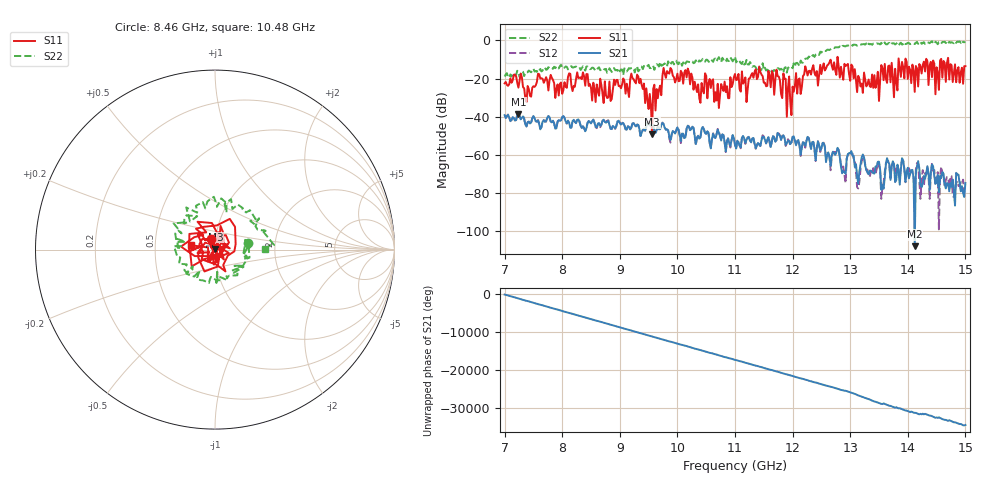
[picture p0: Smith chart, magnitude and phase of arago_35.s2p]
! 4/11/2025 3:31:01 PM
! C:\ANRITSUVNA\LELEC2350\LAB1_2025\GROUP1_35.S2P
! CHANNEL.1
! TR.MEASUREMENT
! CORRECTED.DATA
! RF.CORRECTION: FULL.TWO.PORT.CAL.PORT.1.2
! AVERAGING.OFF
! IF.BANDWIDTH: 300HZ
! SWEEPTYPE:  FREQ.SWEEP(Linear)
! Reference Plane Port Info
! PORT:  PORT1  PORT2
! DISTANCE:  0  m  0  m
! TIME:  0  s  0  s
! PHASE.OFFSET:  0 °  0 °
! LOSS:  0  dB  0  dB
! REF.LOSS:  0  dB  0  dB
! REF.FREQ:  0  Hz  0  Hz
! Power Info
! POWER:  5  dBm  5  dBm
! EFF.POWER:  5  dBm  5  dBm
# GHZ S RI R 50.0
! FREQ.GHZ  S11RE  S11IM  S21RE  S21IM  S12RE  S12IM  S22RE  S22IM
!; PortSelection: Port_12
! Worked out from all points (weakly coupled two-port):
!   401 points, 7 GHz to 15 GHz, reference 50 ohm
!   highest |S21| = -38.49 dB at 7.24 GHz (marker M1); lowest = -107.9 dB at 14.12 GHz (marker M2)
!   lowest |S11| = -49.3 dB at 9.56 GHz (marker M3), VSWR 1.01, Z = 50.2 + j0.278 ohm
!   |S11| at or under -10 dB: start of sweep to 12.78 GHz; 12.79 GHz to 13.84 GHz (1.054 GHz wide, 7.91 % of centre); 13.97 GHz to 14.32 GHz (353 MHz wide, 2.5 % of centre) (the widest 3 of 7)
!   |S22| runs from -19.4 to 0.0 dB; largest |S21 - S12| = 0.00055
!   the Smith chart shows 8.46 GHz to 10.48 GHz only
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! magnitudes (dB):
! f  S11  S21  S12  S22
! 7 GHz  -22.5  -39.1  -39.2  -18.9
! 7.24 GHz  -24.7  -38.5  -38.3  -16.8
! 8.34 GHz  -20.3  -46.0  -46.0  -14.6
! 8.82 GHz  -21.5  -44.3  -44.0  -14.6
! 9.34 GHz  -22.4  -46.4  -46.9  -15.5
! 9.56 GHz  -49.3  -44.2  -44.3  -13.7
! 9.68 GHz  -25.8  -46.6  -46.3  -13.7
! 9.86 GHz  -17.4  -50.7  -51.5  -12.8
! 10.68 GHz  -31.5  -49.3  -48.9  -10.9
! 11 GHz  -17.6  -54.4  -54.9  -8.5
! 11.74 GHz  -18.7  -48.5  -48.6  -14.5
! 11.94 GHz  -18.9  -52.8  -52.7  -14.0
! 12.34 GHz  -14.7  -53.4  -53.9  -8.1
! 12.78 GHz  -8.6  -56.3  -57.5  -3.6
! 12.88 GHz  -20.6  -68.5  -66.1  -2.8
! 13 GHz  -21.1  -59.3  -59.0  -2.6
! 13.14 GHz  -18.5  -75.3  -77.6  -2.2
! 13.22 GHz  -27.5  -59.8  -60.9  -2.0
! 13.56 GHz  -14.5  -75.8  -76.6  -2.1
! 13.68 GHz  -13.2  -64.9  -66.4  -1.3
! 14.12 GHz  -26.9  -107.9  -81.5  -1.9
! 15 GHz  -13.5  -74.8  -81.3  -0.8
